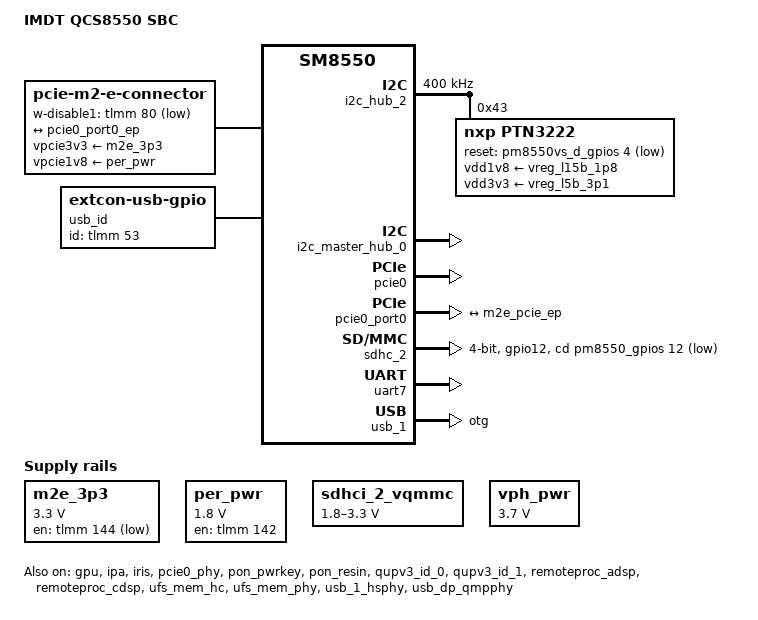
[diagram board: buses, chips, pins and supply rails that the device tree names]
// SPDX-License-Identifier: BSD-3-Clause
/*
 * Copyright (c) 2026 IMD Technologies Ltd
 */

/dts-v1/;

#include "qcs8550-imdt-som.dtsi"

/ {
	model = "IMDT QCS8550 SBC";
	compatible = "imdt,qcs8550-sbc", "imdt,qcs8550-som",
		     "qcom,qcs8550", "qcom,sm8550";
	chassis-type = "embedded";

	aliases {
		serial0 = &uart7;
	};

	chosen {
		stdout-path = "serial0:115200n8";
	};

	connector {
		compatible = "pcie-m2-e-connector";
		vpcie3v3-supply = <&m2e_3p3>;
		vpcie1v8-supply = <&per_pwr>;
		w-disable1-gpios = <&tlmm 80 GPIO_ACTIVE_LOW>;

		pinctrl-0 = <&m2e_wlan_disable>;
		pinctrl-names = "default";

		/* SDIO datapath is disabled because the SDIO lines are
		 * routed through unpopulated resistors.
		 * UART datapath is also disabled as the UART lines are
		 * routed through an analogue mux which currently cannot
		 * be described by a device tree.
		 */
		ports {
			#address-cells = <1>;
			#size-cells = <0>;

			port@0 {
				reg = <0>;
				#address-cells = <1>;
				#size-cells = <0>;

				m2e_pcie_ep: endpoint@0 {
					reg = <0>;
					remote-endpoint = <&pcie0_port0_ep>;
				};
			};
		};
	};

	m2e_3p3: regulator-m2e-3p3 {
		compatible = "regulator-fixed";
		regulator-name = "m2e_3p3";
		regulator-min-microvolt = <3300000>;
		regulator-max-microvolt = <3300000>;

		pinctrl-0 = <&m2_pd_en_default>;
		pinctrl-names = "default";

		gpio = <&tlmm 144 GPIO_ACTIVE_LOW>;
	};

	/* Enables 5V_PER, 3V3_PER and 1V8_PER rails. 5V_PER and 3V3_PER
	 * aren't used within the DTS but are used for on board logic
	 * level conversion and as rails for pull-ups. 1V8_PER is used
	 * for M2 Key E.
	 */
	per_pwr: regulator-per-pwr {
		compatible = "regulator-fixed";
		regulator-name = "per_pwr";
		regulator-min-microvolt = <1800000>;
		regulator-max-microvolt = <1800000>;

		pinctrl-0 = <&pwr_per_en_default>;
		pinctrl-names = "default";

		gpio = <&tlmm 142 GPIO_ACTIVE_HIGH>;
		enable-active-high;

		regulator-always-on;
		regulator-boot-on;
	};

	sdhci_2_vqmmc: regulator-sdhci-2-vqmmc {
		compatible = "regulator-gpio";

		regulator-name = "sdhci_2_vqmmc";
		regulator-min-microvolt = <1800000>;
		regulator-max-microvolt = <3300000>;
		regulator-type = "voltage";

		pinctrl-0 = <&sd_vset_default>;
		pinctrl-names = "default";

		gpios = <&tlmm 4 GPIO_ACTIVE_HIGH>;
		enable-active-high;

		gpios-states = <0>;
		states = <3300000 0>,
			 <1800000 1>;

		startup-delay-us = <10000>;
	};

	vph_pwr: regulator-vph-pwr {
		compatible = "regulator-fixed";
		regulator-name = "vph_pwr";
		regulator-min-microvolt = <3700000>;
		regulator-max-microvolt = <3700000>;
		regulator-always-on;
		regulator-boot-on;
	};

	usb_id: usb-id {
		compatible = "linux,extcon-usb-gpio";
		id-gpios = <&tlmm 53 GPIO_ACTIVE_HIGH>;
		pinctrl-0 = <&usb_id_default>;
		pinctrl-names = "default";
	};
};

&gpi_dma1 {
	status = "okay";
};

&gpu {
	status = "okay";
};

&gpu_zap_shader {
	firmware-name = "qcom/sm8550/a740_zap.mbn";
};

&i2c_hub_2 {
	clock-frequency = <400000>;

	status = "okay";

	ptn3222: redriver@43 {
		compatible = "nxp,ptn3222";
		reg = <0x43>;
		#phy-cells = <0>;

		vdd1v8-supply = <&vreg_l15b_1p8>;
		vdd3v3-supply = <&vreg_l5b_3p1>;

		pinctrl-0 = <&eusb2_repeater_reset_default>;
		pinctrl-names = "default";

		reset-gpios = <&pm8550vs_d_gpios 4 GPIO_ACTIVE_LOW>;
	};
};

&i2c_master_hub_0 {
	status = "okay";
};

&ipa {
	qcom,gsi-loader = "self";
	memory-region = <&ipa_fw_mem>;
	firmware-name = "qcom/sm8550/ipa_fws.mbn";

	status = "okay";
};

&iris {
	status = "okay";
};

&pcie0 {
	wake-gpios = <&tlmm 96 GPIO_ACTIVE_HIGH>;
	perst-gpios = <&tlmm 94 GPIO_ACTIVE_LOW>;

	pinctrl-0 = <&pcie0_default_state>;
	pinctrl-names = "default";

	status = "okay";
};

&pcie0_phy {
	vdda-phy-supply = <&vreg_l1e_0p88>;
	vdda-pll-supply = <&vreg_l3e_1p2>;

	status = "okay";
};

&pcie0_port0 {
	/* Required for pwrctrl driver bind */
	compatible = "pciclass,0604";

	port {
		pcie0_port0_ep: endpoint {
			remote-endpoint = <&m2e_pcie_ep>;
		};
	};
};

&pm8550_gpios {
	sd_card_detect_default: sd-card-detect-default-state {
		pins = "gpio12";
		function = "normal";
		input-enable;
		output-disable;
		bias-disable;
		power-source = <1>; /* 1.8 V */
	};
};

&pm8550_rpmh_regulators {
	vdd-bob1-supply = <&vph_pwr>;
	vdd-bob2-supply = <&vph_pwr>;
};

&pm8550ve_rpmh_regulators {
	vdd-s4-supply = <&vph_pwr>;
};

&pm8550vs_d_gpios {
	eusb2_repeater_reset_default: eusb2-repeater-reset-default-state {
		pins = "gpio4";
		function = "normal";

		input-enable;
		output-enable;
		bias-disable;

		drive-push-pull;
		power-source = <1>; /* 1.8V */
		qcom,drive-strength = <3>;
	};
};

&pm8550vs_e_rpmh_regulators {
	vdd-s4-supply = <&vph_pwr>;
	vdd-s5-supply = <&vph_pwr>;
};

&pm8550vs_g_rpmh_regulators {
	vdd-s1-supply = <&vph_pwr>;
	vdd-s2-supply = <&vph_pwr>;
	vdd-s3-supply = <&vph_pwr>;
	vdd-s4-supply = <&vph_pwr>;
	vdd-s5-supply = <&vph_pwr>;
	vdd-s6-supply = <&vph_pwr>;
};

&pon_pwrkey {
	status = "okay";
};

&pon_resin {
	linux,code = <KEY_VOLUMEDOWN>;

	status = "okay";
};

&qupv3_id_0 {
	status = "okay";
};

&qupv3_id_1 {
	status = "okay";
};

&remoteproc_adsp {
	firmware-name = "qcom/sm8550/adsp.mbn",
			"qcom/sm8550/adsp_dtb.mbn";

	status = "okay";
};

&remoteproc_cdsp {
	firmware-name = "qcom/sm8550/cdsp.mbn",
			"qcom/sm8550/cdsp_dtb.mbn";

	status = "okay";
};

&sdc2_default {
	clk-pins {
		drive-strength = <16>;
	};

	cmd-pins {
		/delete-property/ bias-pull-up;
		bias-disable;
		drive-strength = <16>;
	};

	data-pins {
		/delete-property/ bias-pull-up;
		bias-disable;
		drive-strength = <16>;
	};
};

&sdhc_2 {
	cd-gpios = <&pm8550_gpios 12 GPIO_ACTIVE_LOW>;

	pinctrl-0 = <&sdc2_default>, <&sd_card_detect_default>;
	pinctrl-1 = <&sdc2_default>, <&sd_card_detect_default>;
	pinctrl-names = "default", "sleep";

	vqmmc-supply = <&sdhci_2_vqmmc>;

	bus-width = <4>;
	no-sdio;
	no-mmc;

	status = "okay";
};

&tlmm {
	/* Reserved I/Os for NFC */
	gpio-reserved-ranges = <32 8>;

	m2_pd_en_default: m2-pd-en-default-state {
		pins = "gpio144";
		function = "gpio";
		drive-strength = <16>;
		drive-open-drain;
	};

	m2e_wlan_disable: m2e-wlan-disable-default-state {
		pins = "gpio80";
		function = "gpio";
		drive-strength = <2>;
		bias-disable;
	};

	pwr_per_en_default: pwr-per-en-default-state {
		pins = "gpio142";
		function = "gpio";
		drive-strength = <16>;
		bias-disable;
	};

	sd_vset_default: sd-vset-default-state {
		pins = "gpio4";
		function = "gpio";
		drive-strength = <16>;
		bias-disable;
	};

	usb_id_default: usb-id-default-state {
		pins = "gpio53";
		function = "gpio";
		bias-pull-up;
	};
};

&uart7 {
	status = "okay";
};

&ufs_mem_hc {
	reset-gpios = <&tlmm 210 GPIO_ACTIVE_LOW>;

	vcc-supply = <&vreg_l17b_2p5>;
	vcc-max-microamp = <1300000>;
	vccq-supply = <&vreg_l1g_1p2>;
	vccq-max-microamp = <1200000>;
	vdd-hba-supply = <&vreg_l3g_1p2>;

	status = "okay";
};

&ufs_mem_phy {
	vdda-phy-supply = <&vreg_l1d_0p88>;
	vdda-pll-supply = <&vreg_l3e_1p2>;

	status = "okay";
};

&usb_1 {
	dr_mode = "otg";
	extcon = <&usb_id>;

	status = "okay";
};

&usb_1_hsphy {
	vdd-supply = <&vreg_l1e_0p88>;
	vdda12-supply = <&vreg_l3e_1p2>;

	phys = <&ptn3222>;

	status = "okay";
};

&usb_dp_qmpphy {
	vdda-phy-supply = <&vreg_l3e_1p2>;
	vdda-pll-supply = <&vreg_l3f_0p88>;

	status = "okay";
};
